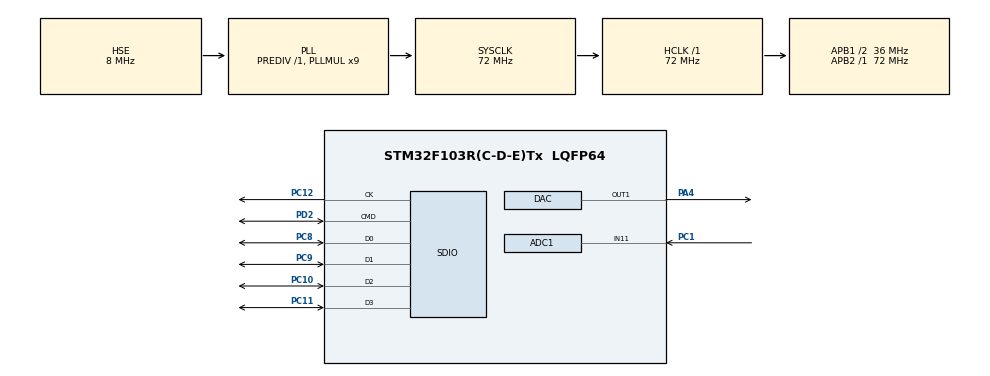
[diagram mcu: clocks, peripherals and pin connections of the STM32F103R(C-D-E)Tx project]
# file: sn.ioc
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ADC1.Channel-4\#ChannelRegularConversion=ADC_CHANNEL_11
ADC1.ContinuousConvMode=ENABLE
ADC1.DataAlign=ADC_DATAALIGN_RIGHT
ADC1.DiscontinuousConvMode=DISABLE
ADC1.EnableAnalogWatchDog=false
ADC1.EnableRegularConversion=ENABLE
ADC1.ExternalTrigConv=ADC_EXTERNALTRIGCONV_T3_TRGO
ADC1.InjNumberOfConversion=0
ADC1.NbrOfConversion=1
ADC1.NbrOfConversionFlag=1
ADC1.Rank-4\#ChannelRegularConversion=1
ADC1.SamplingTime-4\#ChannelRegularConversion=ADC_SAMPLETIME_7CYCLES_5
ADC1.ScanConvMode=ADC_SCAN_DISABLE
ADC1.master=1
DAC.DAC_OutputBuffer=DAC_OUTPUTBUFFER_ENABLE
DAC.DAC_Trigger=DAC_TRIGGER_T2_TRGO
DAC.WaveGeneration=DISABLE
Dma.ADC1.0.Direction=DMA_PERIPH_TO_MEMORY
Dma.ADC1.0.Instance=DMA1_Channel1
Dma.ADC1.0.MemDataAlignment=DMA_MDATAALIGN_HALFWORD
Dma.ADC1.0.MemInc=DMA_MINC_ENABLE
Dma.ADC1.0.Mode=DMA_NORMAL
Dma.ADC1.0.PeriphDataAlignment=DMA_PDATAALIGN_HALFWORD
Dma.ADC1.0.PeriphInc=DMA_PINC_DISABLE
Dma.ADC1.0.Priority=DMA_PRIORITY_VERY_HIGH
Dma.DAC_CH1.1.Direction=DMA_MEMORY_TO_PERIPH
Dma.DAC_CH1.1.Instance=DMA2_Channel3
Dma.DAC_CH1.1.MemDataAlignment=DMA_MDATAALIGN_HALFWORD
Dma.DAC_CH1.1.MemInc=DMA_MINC_ENABLE
Dma.DAC_CH1.1.Mode=DMA_NORMAL
Dma.DAC_CH1.1.PeriphDataAlignment=DMA_PDATAALIGN_HALFWORD
Dma.DAC_CH1.1.PeriphInc=DMA_PINC_DISABLE
Dma.DAC_CH1.1.Priority=DMA_PRIORITY_VERY_HIGH
Dma.Request0=ADC1
Dma.Request1=DAC_CH1
Dma.Request2=SDIO
Dma.SDIO.2.Direction=DMA_PERIPH_TO_MEMORY
Dma.SDIO.2.Instance=DMA2_Channel4
Dma.SDIO.2.MemDataAlignment=DMA_MDATAALIGN_WORD
Dma.SDIO.2.MemInc=DMA_MINC_ENABLE
Dma.SDIO.2.Mode=DMA_NORMAL
Dma.SDIO.2.PeriphDataAlignment=DMA_PDATAALIGN_WORD
Dma.SDIO.2.PeriphInc=DMA_PINC_DISABLE
Dma.SDIO.2.Priority=DMA_PRIORITY_HIGH
FATFS._CODE_PAGE=936
FATFS._FS_NORTC=1
FATFS._FS_RPATH=1
FATFS._NORTC_MDAY=16
FATFS._NORTC_MON=8
FATFS._NORTC_YEAR=2018
FATFS._USE_LFN=2
Mcu.Family=STM32F1
Mcu.Name=STM32F103R(C-D-E)Tx
Mcu.Package=LQFP64
NVIC.DMA1_Channel1_IRQn=true\:0\:0\:false\:false\:true\:false
NVIC.DMA2_Channel3_IRQn=true\:0\:0\:false\:false\:true\:false
NVIC.DMA2_Channel4_5_IRQn=true\:0\:0\:false\:false\:true\:false
NVIC.PriorityGroup=NVIC_PRIORITYGROUP_4
NVIC.SDIO_IRQn=true\:0\:0\:false\:false\:true\:true
NVIC.TIM1_BRK_IRQn=true\:0\:0\:false\:false\:true\:true
NVIC.TIM1_UP_IRQn=true\:0\:0\:false\:false\:true\:true
PA13.Mode=Serial_Wire
PA13.Signal=SYS_JTMS-SWDIO
PA14.Mode=Serial_Wire
PA14.Signal=SYS_JTCK-SWCLK
PA4.Signal=COMP_DAC1_group
PC1.Signal=ADCx_IN11
PC10.Mode=SD_4_bits_Wide_bus
PC10.Signal=SDIO_D2
PC11.Mode=SD_4_bits_Wide_bus
PC11.Signal=SDIO_D3
PC12.Mode=SD_4_bits_Wide_bus
PC12.Signal=SDIO_CK
PC14-OSC32_IN.Signal=RCC_OSC32_IN
PC15-OSC32_OUT.Signal=RCC_OSC32_OUT
PC8.Mode=SD_4_bits_Wide_bus
PC8.Signal=SDIO_D0
PC9.Mode=SD_4_bits_Wide_bus
PC9.Signal=SDIO_D1
PD0-OSC_IN.Mode=HSE-External-Oscillator
PD0-OSC_IN.Signal=RCC_OSC_IN
PD1-OSC_OUT.Mode=HSE-External-Oscillator
PD1-OSC_OUT.Signal=RCC_OSC_OUT
PD2.Mode=SD_4_bits_Wide_bus
PD2.Signal=SDIO_CMD
ProjectManager.HeapSize=0x800
ProjectManager.StackSize=0x1000
ProjectManager.TargetToolchain=EWARM
RCC.ADCPresc=RCC_ADCPCLK2_DIV6
RCC.AHBFreq_Value=72000000
RCC.APB1CLKDivider=RCC_HCLK_DIV2
RCC.APB1Freq_Value=36000000
RCC.APB1TimFreq_Value=72000000
RCC.APB2Freq_Value=72000000
RCC.APB2TimFreq_Value=72000000
RCC.HCLKFreq_Value=72000000
RCC.PLLMUL=RCC_PLL_MUL9
RCC.PLLSourceVirtual=RCC_PLLSOURCE_HSE
RCC.SYSCLKFreq_VALUE=72000000
RCC.SYSCLKSource=RCC_SYSCLKSOURCE_PLLCLK
RCC.USBFreq_Value=72000000
SDIO.ClockDiv=2
SH.ADCx_IN11.0=ADC1_IN11,IN11
SH.COMP_DAC1_group.0=DAC_OUT1,DAC_OUT1
TIM1.AutoReloadPreload=TIM_AUTORELOAD_PRELOAD_ENABLE
TIM1.Period=10000-1
TIM1.Prescaler=72-1
TIM1.TIM_MasterOutputTrigger=TIM_TRGO_RESET
TIM1.TIM_MasterSlaveMode=TIM_MASTERSLAVEMODE_DISABLE
TIM2.AutoReloadPreload=TIM_AUTORELOAD_PRELOAD_ENABLE
TIM2.Period=144-1
TIM2.TIM_MasterOutputTrigger=TIM_TRGO_UPDATE
TIM3.AutoReloadPreload=TIM_AUTORELOAD_PRELOAD_ENABLE
TIM3.Period=144-1
TIM3.Prescaler=1
TIM3.TIM_MasterOutputTrigger=TIM_TRGO_UPDATE
VP_FATFS_VS_SDIO.Mode=SDIO
VP_TIM1_VS_ClockSourceINT.Mode=Internal
VP_TIM2_VS_ClockSourceINT.Mode=Internal
VP_TIM3_VS_ClockSourceINT.Mode=Internal
board=custom

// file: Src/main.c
/**
  ******************************************************************************
  * @file           : main.c
  * @brief          : Main program body
  ******************************************************************************
  * This notice applies to any and all portions of this file
  * that are not between comment pairs USER CODE BEGIN and
  * USER CODE END. Other portions of this file, whether
  * inserted by the user or by software development tools
  * are owned by their respective copyright owners.
  *
  * Copyright (c) 2018 STMicroelectronics International N.V.
  * All rights reserved.
  *
  * Redistribution and use in source and binary forms, with or without
  * modification, are permitted, provided that the following conditions are met:
  *
  * 1. Redistribution of source code must retain the above copyright notice,
  *    this list of conditions and the following disclaimer.
  * 2. Redistributions in binary form must reproduce the above copyright notice,
  *    this list of conditions and the following disclaimer in the documentation
  *    and/or other materials provided with the distribution.
  * 3. Neither the name of STMicroelectronics nor the names of other
  *    contributors to this software may be used to endorse or promote products
  *    derived from this software without specific written permission.
  * 4. This software, including modifications and/or derivative works of this
  *    software, must execute solely and exclusively on microcontroller or
  *    microprocessor devices manufactured by or for STMicroelectronics.
  * 5. Redistribution and use of this software other than as permitted under
  *    this license is void and will automatically terminate your rights under
  *    this license.
  *
  * THIS SOFTWARE IS PROVIDED BY STMICROELECTRONICS AND CONTRIBUTORS "AS IS"
  * AND ANY EXPRESS, IMPLIED OR STATUTORY WARRANTIES, INCLUDING, BUT NOT
  * LIMITED TO, THE IMPLIED WARRANTIES OF MERCHANTABILITY, FITNESS FOR A
  * PARTICULAR PURPOSE AND NON-INFRINGEMENT OF THIRD PARTY INTELLECTUAL PROPERTY
  * RIGHTS ARE DISCLAIMED TO THE FULLEST EXTENT PERMITTED BY LAW. IN NO EVENT
  * SHALL STMICROELECTRONICS OR CONTRIBUTORS BE LIABLE FOR ANY DIRECT, INDIRECT,
  * INCIDENTAL, SPECIAL, EXEMPLARY, OR CONSEQUENTIAL DAMAGES (INCLUDING, BUT NOT
  * LIMITED TO, PROCUREMENT OF SUBSTITUTE GOODS OR SERVICES; LOSS OF USE, DATA,
  * OR PROFITS; OR BUSINESS INTERRUPTION) HOWEVER CAUSED AND ON ANY THEORY OF
  * LIABILITY, WHETHER IN CONTRACT, STRICT LIABILITY, OR TORT (INCLUDING
  * NEGLIGENCE OR OTHERWISE) ARISING IN ANY WAY OUT OF THE USE OF THIS SOFTWARE,
  * EVEN IF ADVISED OF THE POSSIBILITY OF SUCH DAMAGE.
  *
  ******************************************************************************
  */
#include "main.h"
#include "stm32f1xx_hal.h"
#include "fatfs.h"

/* USER CODE BEGIN Includes */
#include "math.h"
#define PI 3.1415926535
#include "stdlib.h"
#include "string.h"
/* USER CODE END Includes */

ADC_HandleTypeDef hadc1;
DMA_HandleTypeDef hdma_adc1;

DAC_HandleTypeDef hdac;
DMA_HandleTypeDef hdma_dac_ch1;

SD_HandleTypeDef hsd;
DMA_HandleTypeDef hdma_sdio;

TIM_HandleTypeDef htim1;
TIM_HandleTypeDef htim2;
TIM_HandleTypeDef htim3;

/* USER CODE BEGIN PV */
/* Private variables ---------------------------------------------------------*/

/* USER CODE END PV */

void SystemClock_Config(void);
static void MX_GPIO_Init(void);
static void MX_DMA_Init(void);
static void MX_ADC1_Init(void);
static void MX_DAC_Init(void);
static void MX_TIM1_Init(void);
static void MX_SDIO_SD_Init(void);
static void MX_TIM2_Init(void);
static void MX_TIM3_Init(void);

/* USER CODE BEGIN PFP */
/* Private function prototypes -----------------------------------------------*/

/* USER CODE END PFP */

/* USER CODE BEGIN 0 */
int sintable[12];
int costable[12];
int dacbuf[512];
int state;//0: need to copy; 1: copyed; 2: written
int lns=0;
int limiter(int a,int l){
  if(a<0)
    a=0;
  if(a>l)
    a=l;
  return a;
}
uint16_t wav[512];
uint16_t wavv[4000];

int wavix;
FIL wavf;
uint32_t byteswritten, bytesread;
/* USER CODE END 0 */

int main(void)
{
  /* USER CODE BEGIN 1 */
  int i;
  for(i=0;i<12;i++){
     sintable[i]=(int)2048*sin(2*i*PI/12.0);
     costable[i]=(int)2048*cos(2*i*PI/12.0);
  }
  float bw=5e3;
  float sp=5e5;
  float freq=4e4;
  int len=512;
  float k=bw*sp/len;
  float it;
  for(i=0;i<len;i++){
    it=((float)(i-len/2))/sp;
    wav[i]=limiter((int)2048*(sin(2*PI*((k/2)*(it*it)+freq*it)))+1,4095);
  }
  wav[511]=2048;
  /* USER CODE END 1 */

  /* MCU Configuration----------------------------------------------------------*/

  /* Reset of all peripherals, Initializes the Flash interface and the Systick. */
  HAL_Init();

  /* Configure the system clock */
  SystemClock_Config();

  /* USER CODE BEGIN SysInit */
  //BSP_SD_Init();

  /* USER CODE END SysInit */

  /* Initialize all configured peripherals */
  MX_GPIO_Init();
  MX_DMA_Init();
  MX_FATFS_Init();
  MX_ADC1_Init();
  MX_DAC_Init();
  MX_TIM1_Init();
  MX_SDIO_SD_Init();
  MX_TIM2_Init();
  MX_TIM3_Init();
  /* USER CODE BEGIN 2 */

  FATFS fs;

  if(f_mount(&fs,(TCHAR const*)SDPath,0)!=FR_OK)
    while(0);

  if(f_open(&wavf,"test.bin",FA_CREATE_ALWAYS|FA_WRITE)!=FR_OK)
    while(0);

  HAL_TIM_Base_Start_IT(&htim1);
  HAL_TIM_Base_Start_IT(&htim2);
  HAL_TIM_Base_Start_IT(&htim3);
  /* USER CODE END 2 */

  /* Infinite loop */
  while (1){

  }

}

void SystemClock_Config(void)
{

  RCC_OscInitTypeDef RCC_OscInitStruct;
  RCC_ClkInitTypeDef RCC_ClkInitStruct;
  RCC_PeriphCLKInitTypeDef PeriphClkInit;

    /**Initializes the CPU, AHB and APB busses clocks
    */
  RCC_OscInitStruct.OscillatorType = RCC_OSCILLATORTYPE_HSE;
  RCC_OscInitStruct.HSEState = RCC_HSE_ON;
  RCC_OscInitStruct.HSEPredivValue = RCC_HSE_PREDIV_DIV1;
  RCC_OscInitStruct.HSIState = RCC_HSI_ON;
  RCC_OscInitStruct.PLL.PLLState = RCC_PLL_ON;
  RCC_OscInitStruct.PLL.PLLSource = RCC_PLLSOURCE_HSE;
  RCC_OscInitStruct.PLL.PLLMUL = RCC_PLL_MUL9;
  if (HAL_RCC_OscConfig(&RCC_OscInitStruct) != HAL_OK)
  {
    _Error_Handler(__FILE__, __LINE__);
  }

    /**Initializes the CPU, AHB and APB busses clocks
    */
  RCC_ClkInitStruct.ClockType = RCC_CLOCKTYPE_HCLK|RCC_CLOCKTYPE_SYSCLK
                              |RCC_CLOCKTYPE_PCLK1|RCC_CLOCKTYPE_PCLK2;
  RCC_ClkInitStruct.SYSCLKSource = RCC_SYSCLKSOURCE_PLLCLK;
  RCC_ClkInitStruct.AHBCLKDivider = RCC_SYSCLK_DIV1;
  RCC_ClkInitStruct.APB1CLKDivider = RCC_HCLK_DIV2;
  RCC_ClkInitStruct.APB2CLKDivider = RCC_HCLK_DIV1;

  if (HAL_RCC_ClockConfig(&RCC_ClkInitStruct, FLASH_LATENCY_2) != HAL_OK)
  {
    _Error_Handler(__FILE__, __LINE__);
  }

  PeriphClkInit.PeriphClockSelection = RCC_PERIPHCLK_ADC;
  PeriphClkInit.AdcClockSelection = RCC_ADCPCLK2_DIV6;
  if (HAL_RCCEx_PeriphCLKConfig(&PeriphClkInit) != HAL_OK)
  {
    _Error_Handler(__FILE__, __LINE__);
  }

    /**Configure the Systick interrupt time
    */
  HAL_SYSTICK_Config(HAL_RCC_GetHCLKFreq()/1000);

    /**Configure the Systick
    */
  HAL_SYSTICK_CLKSourceConfig(SYSTICK_CLKSOURCE_HCLK);

  /* SysTick_IRQn interrupt configuration */
  HAL_NVIC_SetPriority(SysTick_IRQn, 0, 0);
}

/* ADC1 init function */
static void MX_ADC1_Init(void)
{

  ADC_ChannelConfTypeDef sConfig;

    /**Common config
    */
  hadc1.Instance = ADC1;
  hadc1.Init.ScanConvMode = ADC_SCAN_DISABLE;
  hadc1.Init.ContinuousConvMode = ENABLE;
  hadc1.Init.DiscontinuousConvMode = DISABLE;
  hadc1.Init.ExternalTrigConv = ADC_EXTERNALTRIGCONV_T3_TRGO;
  hadc1.Init.DataAlign = ADC_DATAALIGN_RIGHT;
  hadc1.Init.NbrOfConversion = 1;
  if (HAL_ADC_Init(&hadc1) != HAL_OK)
  {
    _Error_Handler(__FILE__, __LINE__);
  }

    /**Configure Regular Channel
    */
  sConfig.Channel = ADC_CHANNEL_11;
  sConfig.Rank = ADC_REGULAR_RANK_1;
  sConfig.SamplingTime = ADC_SAMPLETIME_7CYCLES_5;
  if (HAL_ADC_ConfigChannel(&hadc1, &sConfig) != HAL_OK)
  {
    _Error_Handler(__FILE__, __LINE__);
  }

}

/* DAC init function */
static void MX_DAC_Init(void)
{

  DAC_ChannelConfTypeDef sConfig;

    /**DAC Initialization
    */
  hdac.Instance = DAC;
  if (HAL_DAC_Init(&hdac) != HAL_OK)
  {
    _Error_Handler(__FILE__, __LINE__);
  }

    /**DAC channel OUT1 config
    */
  sConfig.DAC_Trigger = DAC_TRIGGER_T2_TRGO;
  sConfig.DAC_OutputBuffer = DAC_OUTPUTBUFFER_ENABLE;
  if (HAL_DAC_ConfigChannel(&hdac, &sConfig, DAC_CHANNEL_1) != HAL_OK)
  {
    _Error_Handler(__FILE__, __LINE__);
  }

}

/* SDIO init function */
static void MX_SDIO_SD_Init(void)
{

  hsd.Instance = SDIO;
  hsd.Init.ClockEdge = SDIO_CLOCK_EDGE_RISING;
  hsd.Init.ClockBypass = SDIO_CLOCK_BYPASS_DISABLE;
  hsd.Init.ClockPowerSave = SDIO_CLOCK_POWER_SAVE_DISABLE;
  hsd.Init.BusWide = SDIO_BUS_WIDE_1B;
  hsd.Init.HardwareFlowControl = SDIO_HARDWARE_FLOW_CONTROL_DISABLE;
  hsd.Init.ClockDiv = 2;

}

/* TIM1 init function */
static void MX_TIM1_Init(void)
{

  TIM_ClockConfigTypeDef sClockSourceConfig;
  TIM_MasterConfigTypeDef sMasterConfig;

  htim1.Instance = TIM1;
  htim1.Init.Prescaler = 72-1;
  htim1.Init.CounterMode = TIM_COUNTERMODE_UP;
  htim1.Init.Period = 10000-1;
  htim1.Init.ClockDivision = TIM_CLOCKDIVISION_DIV1;
  htim1.Init.RepetitionCounter = 0;
  htim1.Init.AutoReloadPreload = TIM_AUTORELOAD_PRELOAD_ENABLE;
  if (HAL_TIM_Base_Init(&htim1) != HAL_OK)
  {
    _Error_Handler(__FILE__, __LINE__);
  }

  sClockSourceConfig.ClockSource = TIM_CLOCKSOURCE_INTERNAL;
  if (HAL_TIM_ConfigClockSource(&htim1, &sClockSourceConfig) != HAL_OK)
  {
    _Error_Handler(__FILE__, __LINE__);
  }

  sMasterConfig.MasterOutputTrigger = TIM_TRGO_RESET;
  sMasterConfig.MasterSlaveMode = TIM_MASTERSLAVEMODE_DISABLE;
  if (HAL_TIMEx_MasterConfigSynchronization(&htim1, &sMasterConfig) != HAL_OK)
  {
    _Error_Handler(__FILE__, __LINE__);
  }

}

/* TIM2 init function */
static void MX_TIM2_Init(void)
{

  TIM_ClockConfigTypeDef sClockSourceConfig;
  TIM_MasterConfigTypeDef sMasterConfig;

  htim2.Instance = TIM2;
  htim2.Init.Prescaler = 0;
  htim2.Init.CounterMode = TIM_COUNTERMODE_UP;
  htim2.Init.Period = 144-1;
  htim2.Init.ClockDivision = TIM_CLOCKDIVISION_DIV1;
  htim2.Init.AutoReloadPreload = TIM_AUTORELOAD_PRELOAD_ENABLE;
  if (HAL_TIM_Base_Init(&htim2) != HAL_OK)
  {
    _Error_Handler(__FILE__, __LINE__);
  }

  sClockSourceConfig.ClockSource = TIM_CLOCKSOURCE_INTERNAL;
  if (HAL_TIM_ConfigClockSource(&htim2, &sClockSourceConfig) != HAL_OK)
  {
    _Error_Handler(__FILE__, __LINE__);
  }

  sMasterConfig.MasterOutputTrigger = TIM_TRGO_UPDATE;
  sMasterConfig.MasterSlaveMode = TIM_MASTERSLAVEMODE_DISABLE;
  if (HAL_TIMEx_MasterConfigSynchronization(&htim2, &sMasterConfig) != HAL_OK)
  {
    _Error_Handler(__FILE__, __LINE__);
  }

}

/* TIM3 init function */
static void MX_TIM3_Init(void)
{

  TIM_ClockConfigTypeDef sClockSourceConfig;
  TIM_MasterConfigTypeDef sMasterConfig;

  htim3.Instance = TIM3;
  htim3.Init.Prescaler = 1;
  htim3.Init.CounterMode = TIM_COUNTERMODE_UP;
  htim3.Init.Period = 144-1;
  htim3.Init.ClockDivision = TIM_CLOCKDIVISION_DIV1;
  htim3.Init.AutoReloadPreload = TIM_AUTORELOAD_PRELOAD_ENABLE;
  if (HAL_TIM_Base_Init(&htim3) != HAL_OK)
  {
    _Error_Handler(__FILE__, __LINE__);
  }

  sClockSourceConfig.ClockSource = TIM_CLOCKSOURCE_INTERNAL;
  if (HAL_TIM_ConfigClockSource(&htim3, &sClockSourceConfig) != HAL_OK)
  {
    _Error_Handler(__FILE__, __LINE__);
  }

  sMasterConfig.MasterOutputTrigger = TIM_TRGO_UPDATE;
  sMasterConfig.MasterSlaveMode = TIM_MASTERSLAVEMODE_DISABLE;
  if (HAL_TIMEx_MasterConfigSynchronization(&htim3, &sMasterConfig) != HAL_OK)
  {
    _Error_Handler(__FILE__, __LINE__);
  }

}

static void MX_DMA_Init(void)
{
  /* DMA controller clock enable */
  __HAL_RCC_DMA1_CLK_ENABLE();
  __HAL_RCC_DMA2_CLK_ENABLE();

  /* DMA interrupt init */
  /* DMA1_Channel1_IRQn interrupt configuration */
  HAL_NVIC_SetPriority(DMA1_Channel1_IRQn, 0, 0);
  HAL_NVIC_EnableIRQ(DMA1_Channel1_IRQn);
  /* DMA2_Channel3_IRQn interrupt configuration */
  HAL_NVIC_SetPriority(DMA2_Channel3_IRQn, 0, 0);
  HAL_NVIC_EnableIRQ(DMA2_Channel3_IRQn);
  /* DMA2_Channel4_5_IRQn interrupt configuration */
  HAL_NVIC_SetPriority(DMA2_Channel4_5_IRQn, 0, 0);
  HAL_NVIC_EnableIRQ(DMA2_Channel4_5_IRQn);

}

/** Configure pins as
        * Analog
        * Input
        * Output
        * EVENT_OUT
        * EXTI
*/
static void MX_GPIO_Init(void)
{

  /* GPIO Ports Clock Enable */
  __HAL_RCC_GPIOC_CLK_ENABLE();
  __HAL_RCC_GPIOD_CLK_ENABLE();
  __HAL_RCC_GPIOA_CLK_ENABLE();

}

/* USER CODE BEGIN 4 */

unsigned int tt=0;
int n,m,ix;
void HAL_TIM_PeriodElapsedCallback(TIM_HandleTypeDef *htim){
  if(htim->Instance==htim1.Instance){
    tt++;

    if(tt%2==0){

      HAL_DAC_Start_DMA(&hdac,DAC_CHANNEL_1,(uint32_t*)wav,512,DAC_ALIGN_12B_R);
      HAL_ADC_Start_DMA(&hadc1,(uint32_t*)wavv,4000);

    }else{
      f_write(&wavf,wavv,sizeof(wavv),(UINT*)&bytesread);
    }

    if(tt/2>=1000)
      f_close(&wavf);

  }
}
/* USER CODE END 4 */

void _Error_Handler(char *file, int line)
{
  while(1)
  {
  }
}

/************************ (C) COPYRIGHT STMicroelectronics *****END OF FILE****/
